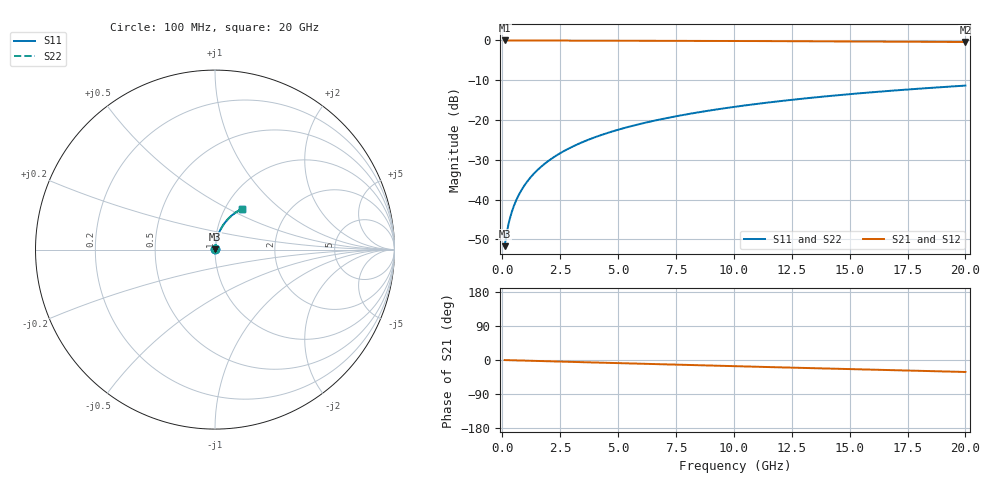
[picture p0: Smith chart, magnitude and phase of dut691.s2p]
! Touchstone file exported from HFSS 2026.1.0
!  File:  C:/ffzhzh/LocalFiles/Ansys_Project_Files/temp_train_TMRDL_691_1783010292_46388.aedt
!  Generated:  12:39:37 AM Jul  3, 2026
!  Design:  TMRDL
!  Project:  temp_train_TMRDL_691_1783010292_46388
! Variables:
!  h_bsmrdl = 2um
!  h_ox = 20um
!  h_rdl = 5um
!  h_sub = 80um
!  h_tmrdl = 3.63um
!  h_tsv = 80um
!  h_via = 3um
!  l_bsmrdl = 300um
!  l_sub = 856.41um
!  l_tmrdl = 456.41um
!  m_sub = 200um
!  pitch = 49.03um
!  r_tsv = 6um
!  s_tmrdl = 10um
!  w_bsmrdl = 18um
!  w_sub = 500um
!  w_tmrdl = 25.99um
!  x_tsv_center1 = 469.405um
!  x_tsv_center2 = 787.405um
!  x_tsv_center3 = 1269.805um
!  x_tsv_center4 = 1587.805um
!  x_tsv_center5 = 2070.205um
!  x_tsv_center6 = 2388.205um
# GHz S MA R 50.000000
! Terminal data exported
! Port[1] = TM_RDL1_1_T1
! Port[2] = TM_RDL1_1_T2
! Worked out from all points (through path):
!   200 points, 100 MHz to 20 GHz, reference 50 ohm
!   highest |S21| = -0.02 dB at 100 MHz (marker M1); lowest = -0.4 dB at 20 GHz (marker M2)
!   group delay of S21, straight-line fit = 4.39 ps
!   lowest |S11| = -51.7 dB at 100 MHz (marker M3), VSWR 1.01, Z = 50.2 + j0.172 ohm
!   |S11| at or under -10 dB: start of sweep to end of sweep
!   |S22| runs from -51.7 to -11.4 dB; largest |S21 - S12| = 3.2e-15
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0.1  0.002603 41.2  0.998 -0.2  0.998 -0.2  0.002603 41.2
! Gamma 0 0 0 0
! Port Impedance 50 0 50 0
0.2  0.003958 58.0  0.9979 -0.3  0.9979 -0.3  0.003958 58.0
0.3  0.005411 65.4  0.9978 -0.5  0.9978 -0.5  0.005411 65.4
0.4  0.006868 69.6  0.9977 -0.7  0.9977 -0.7  0.006869 69.6
0.5  0.008328 72.5  0.9976 -0.8  0.9976 -0.8  0.008328 72.5
0.6  0.009794 74.5  0.9975 -1.0  0.9975 -1.0  0.009794 74.5
0.8  0.01275 77.2  0.9974 -1.3  0.9974 -1.3  0.01275 77.2
1.1  0.01723 79.4  0.9973 -1.8  0.9973 -1.8  0.01723 79.4
1.3  0.02023 80.3  0.9971 -2.2  0.9971 -2.2  0.02023 80.3
1.6  0.02475 81.0  0.997 -2.7  0.997 -2.7  0.02475 81.0
2.1  0.03229 81.4  0.9966 -3.5  0.9966 -3.5  0.03229 81.4
2.7  0.04133 81.3  0.9961 -4.5  0.9961 -4.5  0.04133 81.3
3.5  0.0533 80.6  0.9952 -5.8  0.9952 -5.8  0.0533 80.6
4.2  0.06369 79.7  0.9943 -6.9  0.9943 -6.9  0.06369 79.7
5  0.07545 78.7  0.9931 -8.2  0.9931 -8.2  0.07545 78.7
5.9  0.08852 77.4  0.9916 -9.7  0.9916 -9.7  0.08852 77.4
6.8  0.1014 76.1  0.99 -11.2  0.99 -11.2  0.1014 76.1
8.3  0.1226 73.9  0.987 -13.6  0.987 -13.6  0.1226 73.9
10.1  0.1473 71.2  0.9829 -16.4  0.9829 -16.4  0.1473 71.2
13.4  0.1909 66.3  0.9745 -21.6  0.9745 -21.6  0.1909 66.3
16.7  0.2321 61.4  0.9648 -26.6  0.9648 -26.6  0.2321 61.4
20  0.2704 56.6  0.9543 -31.6  0.9543 -31.6  0.2704 56.6
